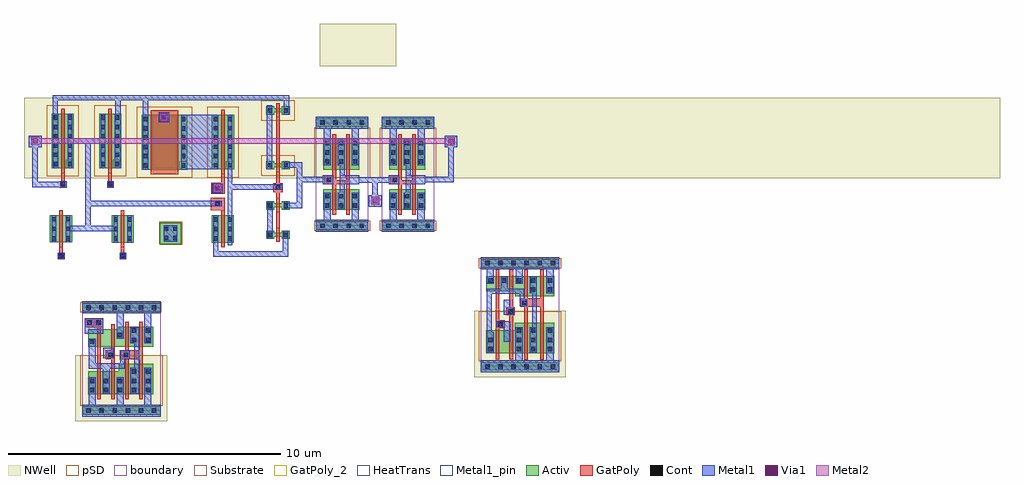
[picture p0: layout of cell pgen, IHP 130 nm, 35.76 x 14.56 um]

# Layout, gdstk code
import gdstk
lib = gdstk.Library(unit=1e-6, precision=1e-09)
def R(c, l, rs):  # rectangles x0, y0, x1, y1
    for r in rs: c.add(gdstk.rectangle(r[:2], r[2:], *l))
def A(c, l, x, y, w, h, nx, ny, dx, dy):  # array of equal rectangles
    R(c, l, [(x+i*dx, y+j*dy, x+i*dx+w, y+j*dy+h) for i in range(nx) for j in range(ny)])
def P(c, l, *ps):  # polygons
    for p in ps: c.add(gdstk.Polygon(p, *l))
Activ = (1, 0)
GatPoly = (5, 0)
GatPoly_2 = (5, 2)
Cont = (6, 0)
Metal1 = (8, 0)
Metal1_pin = (8, 2)
Metal2 = (10, 0)
pSD = (14, 0)
Via1 = (19, 0)
NWell = (31, 0)
Substrate = (40, 0)
HeatTrans = (51, 0)
boundary = (189, 4)

pmos = lib.new_cell('pmos')
R(pmos, Activ, [(0,0,0.3,0.3), (0,0,0.81,2), (0.51,0,0.81,0.3)])
R(pmos, GatPoly, [(0.34,-0.18,0.47,2.18), (0.34,-0.18,0.47,2.18)])
A(pmos, Cont, 0.07, 0.07, 0.16, 0.16, 1, 6, 0, 0.34)
A(pmos, Cont, 0.58, 0.07, 0.16, 0.16, 1, 6, 0, 0.34)
R(pmos, Metal1, [(0.07,0,0.23,2), (0.07,0,0.23,2), (0.58,0,0.74,2), (0.58,0,0.74,2)])
R(pmos, pSD, [(-0.18,-0.3,0.99,2.3)])
R(pmos, NWell, [(-0.31,-0.31,1.12,2.31)])
R(pmos, Substrate, [(0.51,0,0.81,0.3)])
R(pmos, HeatTrans, [(0.34,-0.18,0.47,2.18)])
pmos.add(gdstk.Label('pmos', (0.405,1), layer=63, texttype=0))
pmos.add(gdstk.Label('pmos', (0.405,1), layer=51, texttype=0))

nmos = lib.new_cell('nmos')
R(nmos, Activ, [(0,0,0.3,0.3), (0,0,0.81,1), (0.51,0,0.81,0.3)])
R(nmos, GatPoly, [(0.34,-0.18,0.47,1.18)])
R(nmos, GatPoly_2, [(0.34,-0.18,0.47,1.18)])
A(nmos, Cont, 0.07, 0.07, 0.16, 0.16, 1, 3, 0, 0.35)
A(nmos, Cont, 0.58, 0.07, 0.16, 0.16, 1, 3, 0, 0.35)
R(nmos, Metal1, [(0.07,0,0.23,1), (0.58,0,0.74,1)])
R(nmos, Metal1_pin, [(0.07,0,0.23,1), (0.58,0,0.74,1)])
R(nmos, HeatTrans, [(0.34,-0.18,0.47,1.18)])
nmos.add(gdstk.Label('nmos', (0.405,0.5), layer=63, texttype=0))
nmos.add(gdstk.Label('nmos', (0.405,0.5), layer=51, texttype=0))

pmos_2 = lib.new_cell('pmos$2')
R(pmos_2, Activ, [(0,0,0.3,0.3), (0.57,0,0.87,0.3), (0,0.075,0.87,0.225)])
R(pmos_2, GatPoly, [(0.37,-0.105,0.5,0.405), (0.37,-0.105,0.5,0.405)])
R(pmos_2, Cont, [(0.07,0.07,0.23,0.23), (0.64,0.07,0.8,0.23)])
R(pmos_2, Metal1, [(0.07,0.02,0.23,0.28), (0.07,0.02,0.23,0.28), (0.64,0.02,0.8,0.28), (0.64,0.02,0.8,0.28)])
R(pmos_2, pSD, [(-0.18,-0.225,1.05,0.525)])
R(pmos_2, NWell, [(-0.31,-0.31,1.18,0.61)])
R(pmos_2, Substrate, [(0.57,0,0.87,0.3)])
R(pmos_2, HeatTrans, [(0.37,-0.105,0.5,0.405)])
pmos_2.add(gdstk.Label('pmos', (0.435,0.15), layer=63, texttype=0))
pmos_2.add(gdstk.Label('pmos', (0.435,0.15), layer=51, texttype=0))

via_stack_1 = lib.new_cell('via_stack$1')
R(via_stack_1, Metal1, [(-0.145,-0.145,0.145,0.145)])
R(via_stack_1, Metal2, [(-0.145,-0.145,0.145,0.145)])
R(via_stack_1, Via1, [(-0.095,-0.095,0.095,0.095)])

nmos_1 = lib.new_cell('nmos$1')
R(nmos_1, Activ, [(0,0,0.3,0.3), (0.57,0,0.87,0.3), (0,0.075,0.87,0.225)])
R(nmos_1, GatPoly, [(0.37,-0.105,0.5,0.405)])
R(nmos_1, GatPoly_2, [(0.37,-0.105,0.5,0.405)])
R(nmos_1, Cont, [(0.07,0.07,0.23,0.23), (0.64,0.07,0.8,0.23)])
R(nmos_1, Metal1, [(0.07,0.02,0.23,0.28), (0.64,0.02,0.8,0.28)])
R(nmos_1, Metal1_pin, [(0.07,0.02,0.23,0.28), (0.64,0.02,0.8,0.28)])
R(nmos_1, HeatTrans, [(0.37,-0.105,0.5,0.405)])
nmos_1.add(gdstk.Label('nmos', (0.435,0.15), layer=63, texttype=0))
nmos_1.add(gdstk.Label('nmos', (0.435,0.15), layer=51, texttype=0))

ptap = lib.new_cell('ptap')
R(ptap, Activ, [(-0.39,-0.39,0.39,0.39)])
R(ptap, Cont, [(-0.25,-0.25,-0.09,-0.09), (0.09,-0.25,0.25,-0.09), (-0.25,0.09,-0.09,0.25), (0.09,0.09,0.25,0.25)])
R(ptap, Metal1, [(-0.25,-0.3,0.25,0.3), (-0.25,-0.25,0.25,0.25)])
R(ptap, Metal1_pin, [(-0.25,-0.25,0.25,0.25)])
R(ptap, pSD, [(-0.42,-0.42,0.42,0.42)])
R(ptap, Substrate, [(-0.39,-0.39,0.39,0.39)])

sg13g2_and2_2 = lib.new_cell('sg13g2_and2_2')
R(sg13g2_and2_2, Activ, [(0,-0.15,2.88,0.15), (0,3.63,2.88,3.93)])
P(sg13g2_and2_2, Activ, [(1.355,0.7),(1.355,0.8),(0.225,0.8),(0.225,1.44),(2.605,1.44),(2.605,0.7)],
  [(1.355,2.06),(1.355,2.34),(0.225,2.34),(0.225,3.18),(2.605,3.18),(2.605,2.06)])
P(sg13g2_and2_2, GatPoly, [(1.585,0.52),(1.585,1.57),(1.385,1.57),(1.385,1.9),(1.585,1.9),(1.585,3.36),(1.715,3.36),(1.715,1.9),(2.095,1.9),(2.095,3.36),(2.225,3.36),(2.225,0.52),(2.095,0.52),(2.095,1.57),(1.715,1.57),(1.715,0.52)],
  [(0.105,0.41),(0.105,0.73),(0.565,0.73),(0.565,3.36),(0.695,3.36),(0.695,0.73),(0.775,0.73),(0.775,0.41)],
  [(1.075,0.62),(1.075,1.57),(0.875,1.57),(0.875,1.9),(1.075,1.9),(1.075,3.36),(1.205,3.36),(1.205,0.62)])
A(sg13g2_and2_2, Cont, 0.16, -0.08, 0.16, 0.16, 6, 1, 0.48, 0)
A(sg13g2_and2_2, Cont, 0.295, 2.61, 0.16, 0.16, 5, 2, 0.51, 0.34)
A(sg13g2_and2_2, Cont, 1.6, 3.7, 0.16, 0.16, 3, 1, 0.48, 0)
R(sg13g2_and2_2, Cont, [(0.19,0.48,0.35,0.64), (0.53,0.48,0.69,0.64), (1.825,0.77,1.985,0.93), (2.335,0.77,2.495,0.93), (1.315,0.935,1.475,1.095), (1.825,1.11,1.985,1.27), (2.335,1.11,2.495,1.27), (0.295,1.18,0.455,1.34), (0.96,1.655,1.12,1.815), (1.53,1.655,1.69,1.815), (1.825,2.27,1.985,2.43), (2.335,2.27,2.495,2.43), (0.16,3.7,0.32,3.86), (0.16,3.7,0.32,3.86), (0.16,3.7,0.32,3.86), (0.64,3.7,0.8,3.86), (0.64,3.7,0.8,3.86), (1.12,3.7,1.28,3.86), (1.12,3.7,1.28,3.86), (1.6,3.7,1.76,3.86)])
R(sg13g2_and2_2, Metal1, [(0.105,0.405,0.78,0.96), (0.78,1.47,1.17,1.87)])
P(sg13g2_and2_2, Metal1, [(1.775,0.72),(1.775,1.32),(1.92,1.32),(1.92,2.22),(1.775,2.22),(1.775,3.16),(2.105,3.16),(2.105,0.72)],
  [(0,-0.22),(0,0.22),(1.265,0.22),(1.265,1.145),(1.525,1.145),(1.525,0.22),(2.285,0.22),(2.285,1.32),(2.545,1.32),(2.545,0.22),(2.88,0.22),(2.88,-0.22)],
  [(0.245,1.14),(0.245,2.24),(0.755,2.24),(0.755,3.16),(1.015,3.16),(1.015,2.24),(1.56,2.24),(1.56,1.9),(1.74,1.9),(1.74,1.57),(1.4,1.57),(1.4,2.05),(0.505,2.05),(0.505,1.14)],
  [(2.285,2.22),(2.285,3.56),(1.525,3.56),(1.525,2.56),(1.265,2.56),(1.265,3.56),(0.505,3.56),(0.505,2.56),(0.245,2.56),(0.245,3.56),(0,3.56),(0,4),(2.88,4),(2.88,3.56),(2.545,3.56),(2.545,2.22)])
R(sg13g2_and2_2, Metal1_pin, [(0,-0.22,2.88,0.22), (0.105,0.405,0.78,0.96), (0.78,1.47,1.17,1.87), (1.775,2.22,2.105,3.16), (0,3.56,2.88,4)])
R(sg13g2_and2_2, pSD, [(-0.07,-0.18,2.91,0.18), (-0.07,1.76,2.95,3.6)])
R(sg13g2_and2_2, NWell, [(-0.24,1.75,0.72,4.17), (-0.24,1.75,2.64,4.17), (2.16,1.75,3.12,4.17)])
R(sg13g2_and2_2, boundary, [(0,0,2.88,3.78)])
sg13g2_and2_2.add(gdstk.Label('X', (1.995,2.73), layer=8, texttype=25))
sg13g2_and2_2.add(gdstk.Label('VSS', (1.18,0), layer=8, texttype=25))
sg13g2_and2_2.add(gdstk.Label('VDD', (1.275,3.78), layer=8, texttype=25))
sg13g2_and2_2.add(gdstk.Label('B', (0.98,1.655), layer=8, texttype=25))
sg13g2_and2_2.add(gdstk.Label('A', (0.465,0.745), layer=8, texttype=25))

sg13g2_or2_2 = lib.new_cell('sg13g2_or2_2')
R(sg13g2_or2_2, Activ, [(0,-0.15,2.88,0.15), (0,3.63,2.88,3.93)])
P(sg13g2_or2_2, Activ, [(1.25,2.18),(1.25,2.46),(0.2,2.46),(0.2,3.3),(2.685,3.3),(2.685,2.18)],
  [(0.2,0.48),(0.2,1.03),(1.255,1.03),(1.255,1.22),(2.685,1.22),(2.685,0.48)])
P(sg13g2_or2_2, GatPoly, [(1.05,0.22),(1.05,1.615),(0.935,1.615),(0.935,1.915),(1.05,1.915),(1.05,3.525),(1.18,3.525),(1.18,1.915),(1.235,1.915),(1.235,1.615),(1.18,1.615),(1.18,0.22)],
  [(0.54,0.22),(0.54,3.52),(0.67,3.52),(0.67,2.39),(0.87,2.39),(0.87,2.09),(0.67,2.09),(0.67,0.22)],
  [(1.595,0.22),(1.595,1.3),(1.445,1.3),(1.445,1.6),(1.595,1.6),(1.595,3.53),(1.725,3.53),(1.725,1.6),(2.175,1.6),(2.175,3.53),(2.305,3.53),(2.305,0.22),(2.175,0.22),(2.175,1.29),(1.725,1.29),(1.725,0.22)])
A(sg13g2_or2_2, Cont, 0.16, -0.08, 0.16, 0.16, 6, 2, 0.48, 3.78)
A(sg13g2_or2_2, Cont, 1.32, 2.39, 0.16, 0.16, 1, 3, 0, 0.34)
A(sg13g2_or2_2, Cont, 1.84, 2.39, 0.16, 0.16, 1, 3, 0, 0.34)
A(sg13g2_or2_2, Cont, 2.455, 2.39, 0.16, 0.16, 1, 3, 0, 0.34)
R(sg13g2_or2_2, Cont, [(0.27,0.55,0.43,0.71), (0.78,0.55,0.94,0.71), (1.325,0.55,1.485,0.71), (1.835,0.55,1.995,0.71), (2.455,0.55,2.615,0.71), (1.835,0.89,1.995,1.05), (2.455,0.89,2.615,1.05), (1.515,1.37,1.675,1.53), (1.005,1.685,1.165,1.845), (0.635,2.16,0.795,2.32), (0.27,2.73,0.43,2.89), (0.27,3.07,0.43,3.23)])
P(sg13g2_or2_2, Metal1, [(1.785,0.5),(1.785,1.1),(1.885,1.1),(1.885,2.34),(1.79,2.34),(1.79,3.28),(2.05,3.28),(2.05,0.5)],
  [(0,-0.22),(0,0.22),(0.22,0.22),(0.22,0.76),(0.48,0.76),(0.48,0.22),(1.275,0.22),(1.275,0.76),(1.535,0.76),(1.535,0.22),(2.405,0.22),(2.405,1.1),(2.665,1.1),(2.665,0.22),(2.88,0.22),(2.88,-0.22)],
  [(0.84,1.335),(0.84,1.895),(1.215,1.895),(1.215,1.635),(1.085,1.635),(1.085,1.335)],
  [(0.73,0.5),(0.73,0.945),(0.22,0.945),(0.22,3.28),(0.48,3.28),(0.48,2.53),(0.405,2.53),(0.405,1.125),(1.425,1.125),(1.425,1.58),(1.705,1.58),(1.705,1.315),(1.595,1.315),(1.595,0.945),(0.99,0.945),(0.99,0.5)],
  [(0.585,2.13),(0.585,2.35),(0.84,2.35),(0.84,2.88),(1.085,2.88),(1.085,2.13)],
  [(1.27,2.34),(1.27,3.56),(0,3.56),(0,4),(2.88,4),(2.88,3.56),(2.665,3.56),(2.665,2.34),(2.405,2.34),(2.405,3.56),(1.53,3.56),(1.53,2.34)])
R(sg13g2_or2_2, Metal1_pin, [(0,-0.22,2.88,0.22), (0.84,1.335,1.085,1.895), (0.84,2.13,1.085,2.88), (1.79,2.34,2.05,3.28), (0,3.56,2.88,4)])
R(sg13g2_or2_2, pSD, [(-0.07,-0.18,2.95,0.18), (-0.07,1.76,2.95,3.6)])
R(sg13g2_or2_2, NWell, [(-0.24,1.75,3.12,4.17)])
R(sg13g2_or2_2, boundary, [(0,0,2.88,3.78)])
sg13g2_or2_2.add(gdstk.Label('B', (0.96,2.52), layer=8, texttype=25))
sg13g2_or2_2.add(gdstk.Label('VSS', (1.43,-0.005), layer=8, texttype=25))
sg13g2_or2_2.add(gdstk.Label('A', (0.96,1.68), layer=8, texttype=25))
sg13g2_or2_2.add(gdstk.Label('X', (1.92,2.52), layer=8, texttype=25))
sg13g2_or2_2.add(gdstk.Label('VDD', (1.435,3.78), layer=8, texttype=25))

sg13g2_inv_2 = lib.new_cell('sg13g2_inv_2')
R(sg13g2_inv_2, Activ, [(0,-0.15,1.92,0.15), (0.265,0.59,1.585,1.33), (0.265,2.06,1.59,3.18), (0,3.63,1.92,3.93)])
P(sg13g2_inv_2, GatPoly, [(0.605,0.41),(0.605,1.52),(0.305,1.52),(0.305,1.85),(0.605,1.85),(0.605,3.36),(0.735,3.36),(0.735,1.67),(1.115,1.67),(1.115,3.36),(1.245,3.36),(1.245,0.41),(1.115,0.41),(1.115,1.52),(0.735,1.52),(0.735,0.41)])
A(sg13g2_inv_2, Cont, 0.335, 0.66, 0.16, 0.16, 3, 2, 0.51, 0.34)
A(sg13g2_inv_2, Cont, 0.335, 2.27, 0.16, 0.16, 1, 3, 0, 0.34)
A(sg13g2_inv_2, Cont, 0.845, 2.27, 0.16, 0.16, 1, 3, 0, 0.34)
A(sg13g2_inv_2, Cont, 1.36, 2.27, 0.16, 0.16, 1, 3, 0, 0.34)
R(sg13g2_inv_2, Cont, [(0.16,-0.08,0.32,0.08), (0.16,-0.08,0.32,0.08), (0.64,-0.08,0.8,0.08), (0.64,-0.08,0.8,0.08), (1.12,-0.08,1.28,0.08), (1.12,-0.08,1.28,0.08), (1.6,-0.08,1.76,0.08), (1.6,-0.08,1.76,0.08), (0.39,1.605,0.55,1.765), (0.16,3.7,0.32,3.86), (0.16,3.7,0.32,3.86), (0.64,3.7,0.8,3.86), (0.64,3.7,0.8,3.86), (1.12,3.7,1.28,3.86), (1.12,3.7,1.28,3.86), (1.6,3.7,1.76,3.86), (1.6,3.7,1.76,3.86)])
R(sg13g2_inv_2, Metal1, [(0.255,1.52,0.635,1.85)])
P(sg13g2_inv_2, Metal1, [(0.285,2.22),(0.285,3.56),(0,3.56),(0,4),(1.92,4),(1.92,3.56),(1.57,3.56),(1.57,2.22),(1.31,2.22),(1.31,3.56),(0.545,3.56),(0.545,2.22)],
  [(0,-0.22),(0,0.22),(0.285,0.22),(0.285,1.21),(0.545,1.21),(0.545,0.22),(1.305,0.22),(1.305,1.21),(1.565,1.21),(1.565,0.22),(1.92,0.22),(1.92,-0.22)],
  [(0.795,0.61),(0.795,1.21),(0.87,1.21),(0.87,2.22),(0.795,2.22),(0.795,3.18),(1.055,3.18),(1.055,1.85),(1.59,1.85),(1.59,1.52),(1.055,1.52),(1.055,0.61)])
R(sg13g2_inv_2, Metal1_pin, [(0,-0.22,1.92,0.22), (0.255,1.52,0.635,1.85), (0.87,1.52,1.59,1.85), (0,3.56,1.92,4)])
R(sg13g2_inv_2, pSD, [(-0.07,-0.18,1.99,0.18), (-0.07,1.76,1.99,3.6)])
R(sg13g2_inv_2, NWell, [(-0.24,1.75,2.16,4.17)])
R(sg13g2_inv_2, boundary, [(0,0,1.92,3.78)])
sg13g2_inv_2.add(gdstk.Label('VSS', (0.89,0), layer=8, texttype=25))
sg13g2_inv_2.add(gdstk.Label('VDD', (0.935,3.785), layer=8, texttype=25))
sg13g2_inv_2.add(gdstk.Label('Y', (1.44,1.68), layer=8, texttype=25))
sg13g2_inv_2.add(gdstk.Label('A', (0.48,1.68), layer=8, texttype=25))

pmos_1 = lib.new_cell('pmos$1')
R(pmos_1, Activ, [(0,0,0.3,0.3), (0,0,1.68,2), (1.38,0,1.68,0.3)])
R(pmos_1, GatPoly, [(0.34,-0.18,1.34,2.18), (0.34,-0.18,1.34,2.18)])
A(pmos_1, Cont, 0.07, 0.07, 0.16, 0.16, 1, 6, 0, 0.34)
A(pmos_1, Cont, 1.45, 0.07, 0.16, 0.16, 1, 6, 0, 0.34)
R(pmos_1, Metal1, [(0.07,0,0.23,2), (0.07,0,0.23,2), (1.45,0,1.61,2), (1.45,0,1.61,2)])
R(pmos_1, pSD, [(-0.18,-0.3,1.86,2.3)])
R(pmos_1, NWell, [(-0.31,-0.31,1.99,2.31)])
R(pmos_1, Substrate, [(1.38,0,1.68,0.3)])
R(pmos_1, HeatTrans, [(0.34,-0.18,1.34,2.18)])
pmos_1.add(gdstk.Label('pmos', (0.84,1), layer=63, texttype=0))
pmos_1.add(gdstk.Label('pmos', (0.84,1), layer=51, texttype=0))

pgen = lib.new_cell('pgen')
R(pgen, GatPoly, [(-5.085,3.035,-4.885,3.23), (-2.825,3.035,-2.625,3.23), (0.505,4.795,1.015,5.26), (0.52,5.4,1.02,5.8), (2.79,5.46,3.15,5.795), (0.615,5.505,0.815,5.7), (-5.015,5.655,-4.815,5.85), (-3.285,5.655,-3.085,5.85), (-1.355,8.11,-1.155,8.305)])
R(pgen, Cont, [(-5.065,3.05,-4.905,3.21), (-2.805,3.05,-2.645,3.21), (0.675,4.955,0.835,5.115), (0.67,5.525,0.83,5.685), (2.89,5.55,3.05,5.71), (-4.995,5.67,-4.835,5.83), (-3.265,5.67,-3.105,5.83), (-1.3,8.13,-1.14,8.29)])
R(pgen, Metal1, [(-5.09,2.995,-4.845,3.245), (-2.83,2.995,-2.585,3.245), (6.3,4.92,6.77,5.345), (0.565,5.42,0.95,5.775), (0.61,5.465,0.855,5.715), (-5.02,5.615,-4.775,5.865), (-3.29,5.615,-3.045,5.865), (-0.57,6.295,0.78,8.295), (9.07,7.1,9.54,7.525), (-6.16,7.11,-5.69,7.535), (-4.46,7.24,-3.455,7.44), (-1.405,8.025,-1.02,8.38), (-1.36,8.07,-1.115,8.32)])
P(pgen, Metal1, [(-4.735,4.025),(-4.735,4.225),(-4.095,4.225),(-4.095,7.345),(-3.895,7.345),(-3.895,4.225),(-2.965,4.225),(-2.965,4.025)],
  [(-6.025,5.645),(-6.025,7.535),(-5.825,7.535),(-5.825,5.845),(-4.835,5.845),(-4.835,5.645)])
R(pgen, NWell, [(-6.335,5.98,29.42,8.92), (4.505,10.075,7.31,11.63)])
pgen.add(gdstk.FlexPath([(-4.46,7.34),(-4.67,7.34)], 0.2, ends="flush", simple_path=True, layer=8, datatype=0))  # Metal1
pgen.add(gdstk.FlexPath([(1.215,6.49),(1.215,3.78),(1.215,3.51)], 0.16, ends="flush", simple_path=True, layer=8, datatype=0))  # Metal1
pgen.add(gdstk.FlexPath([(0.905,5.04),(-3.995,5.04),(-3.995,4.925),(-3.995,4.925)], 0.2, ends="flush", simple_path=True, layer=8, datatype=0))  # Metal1
pgen.add(gdstk.FlexPath([(3.15,5.645),(1.135,5.645)], 0.2, ends="flush", simple_path=True, layer=8, datatype=0))  # Metal1
pgen.add(gdstk.FlexPath([(3.175,6.455),(3.755,6.455),(3.755,4.98),(3.175,4.98)], 0.2, ends="flush", simple_path=True, layer=8, datatype=0))  # Metal1
pgen.add(gdstk.FlexPath([(2.67,5.105),(2.67,3.77),(2.67,3.77),(2.67,3.77)], 0.2, ends="flush", simple_path=True, layer=8, datatype=0))  # Metal1
pgen.add(gdstk.FlexPath([(3.25,4.03),(3.25,3.2),(0.69,3.2),(0.69,4.615)], 0.2, ends="flush", simple_path=True, layer=8, datatype=0))  # Metal1
pgen.add(gdstk.FlexPath([(5.765,5.91),(7.37,5.91)], 0.2, ends="flush", simple_path=True, layer=8, datatype=0))  # Metal1
pgen.add(gdstk.FlexPath([(8.365,5.925),(9.305,5.925),(9.305,7.43)], 0.2, ends="flush", simple_path=True, layer=8, datatype=0))  # Metal1
pgen.add(gdstk.FlexPath([(2.665,6.295),(2.665,8.65)], 0.2, ends="flush", simple_path=True, layer=8, datatype=0))  # Metal1
pgen.add(gdstk.FlexPath([(3.275,8.305),(3.275,8.92),(-5.19,8.92),(-5.19,6.34)], 0.2, ends="flush", simple_path=True, layer=8, datatype=0))  # Metal1
pgen.add(gdstk.FlexPath([(-2.885,6.34),(-2.885,8.92)], 0.2, ends="flush", simple_path=True, layer=8, datatype=0))  # Metal1
pgen.add(gdstk.FlexPath([(-1.885,6.29),(-1.885,8.92)], 0.2, ends="flush", simple_path=True, layer=8, datatype=0))  # Metal1
pgen.add(gdstk.FlexPath([(5,5.92),(3.655,5.92)], 0.2, ends="flush", simple_path=True, layer=8, datatype=0))  # Metal1
pgen.add(gdstk.FlexPath([(6.53,5.91),(6.53,5.15)], 0.2, ends="flush", simple_path=True, layer=8, datatype=0))  # Metal1
pgen.add(gdstk.FlexPath([(-3.18,6.16),(-3.18,5.78),(-3.165,5.78)], 0.13, ends="flush", simple_path=True, layer=5, datatype=0))  # GatPoly
pgen.add(gdstk.FlexPath([(2.97,8.2),(2.97,3.71),(2.96,3.71)], 0.13, ends="flush", simple_path=True, layer=5, datatype=0))  # GatPoly
pgen.add(gdstk.FlexPath([(0.955,6.115),(0.955,5.8)], 0.13, ends="flush", simple_path=True, layer=5, datatype=0))  # GatPoly
pgen.add(gdstk.FlexPath([(-4.91,6.16),(-4.91,5.78),(-4.895,5.78)], 0.13, ends="flush", simple_path=True, layer=5, datatype=0))  # GatPoly
pgen.add(gdstk.FlexPath([(-2.72,3.54),(-2.72,3.16),(-2.705,3.16)], 0.13, ends="flush", simple_path=True, layer=5, datatype=0))  # GatPoly
pgen.add(gdstk.FlexPath([(-4.98,3.54),(-4.98,3.16),(-4.965,3.16)], 0.13, ends="flush", simple_path=True, layer=5, datatype=0))  # GatPoly
pgen.add(gdstk.FlexPath([(9.405,7.34),(-6.025,7.34)], 0.2, ends="flush", simple_path=True, layer=10, datatype=0))  # Metal2
pgen.add(gdstk.Reference(pmos, (-5.315,6.34)))
pgen.add(gdstk.Reference(nmos, (0.545,3.615)))
pgen.add(gdstk.Reference(pmos_2, (2.535,6.295)))
pgen.add(gdstk.Reference(via_stack_1, (0.75,5.605)))
pgen.add(gdstk.Reference(pmos_2, (2.535,8.305)))
pgen.add(gdstk.Reference(nmos_1, (2.535,4.825)))
pgen.add(gdstk.Reference(nmos_1, (2.535,3.75)))
pgen.add(gdstk.Reference(ptap, (-0.965,3.95)))
pgen.add(gdstk.Reference(pmos, (0.55,6.295)))
pgen.add(gdstk.Reference(sg13g2_and2_2, (-4.21,1.24), x_reflection=True))
pgen.add(gdstk.Reference(sg13g2_or2_2, (10.4,2.86), x_reflection=True))
pgen.add(gdstk.Reference(sg13g2_inv_2, (6.775,4.23)))
pgen.add(gdstk.Reference(sg13g2_inv_2, (4.36,4.23)))
pgen.add(gdstk.Reference(nmos, (-3.125,3.615)))
pgen.add(gdstk.Reference(nmos, (-5.385,3.62)))
pgen.add(gdstk.Reference(pmos_1, (-2.03,6.29)))
pgen.add(gdstk.Reference(pmos, (-3.585,6.34)))
pgen.add(gdstk.Reference(via_stack_1, (-1.22,8.21)))
pgen.add(gdstk.Reference(via_stack_1, (9.305,7.33)))
pgen.add(gdstk.Reference(via_stack_1, (6.535,5.15)))
pgen.add(gdstk.Reference(via_stack_1, (-5.925,7.34)))

lib.write_gds('pgen.gds')
